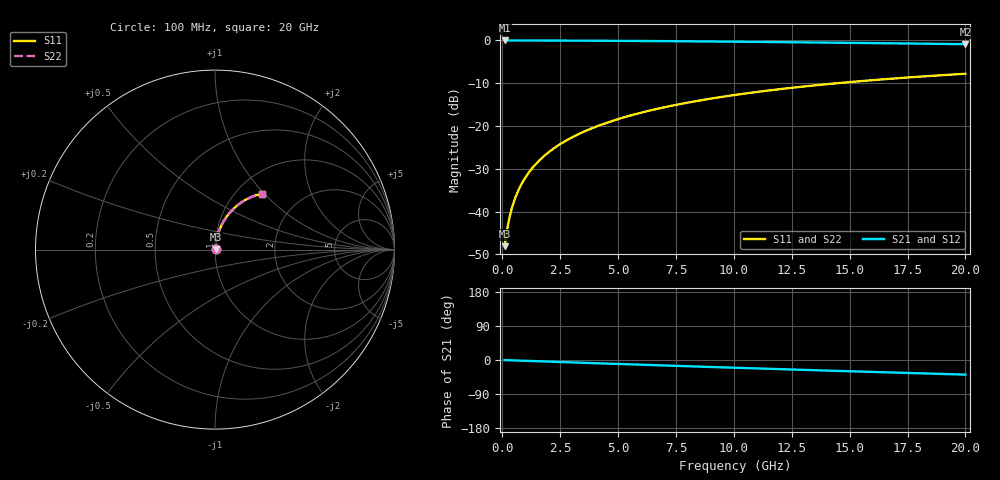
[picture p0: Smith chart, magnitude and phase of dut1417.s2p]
! Touchstone file exported from HFSS 2026.1.0
!  File:  C:/ffzhzh/LocalFiles/Ansys_Project_Files/temp_train_BSMRDL_1417_1783180139_18472.aedt
!  Generated:  11:50:11 PM Jul  4, 2026
!  Design:  BSMRDL
!  Project:  temp_train_BSMRDL_1417_1783180139_18472
! Variables:
!  h_bsmrdl = 4.58um
!  h_ox = 20um
!  h_rdl = 5um
!  h_sub = 80um
!  h_tmrdl = 5um
!  h_tsv = 80um
!  h_via = 3um
!  l_bsmrdl = 526.17um
!  l_sub = 926.17um
!  l_tmrdl = 200um
!  m_sub = 200um
!  pitch = 44.77um
!  r_tsv = 6um
!  s_tmrdl = 10um
!  w_bsmrdl = 14.09um
!  w_sub = 500um
!  w_tmrdl = 12um
!  x_tsv_center1 = 206um
!  x_tsv_center2 = 746.26um
!  x_tsv_center3 = 958.26um
!  x_tsv_center4 = 1498.52um
!  x_tsv_center5 = 1710.52um
!  x_tsv_center6 = 2250.78um
# GHz S MA R 50.000000
! Terminal data exported
! Port[1] = BSM_RDL1_1_T1
! Port[2] = BSM_RDL1_1_T2
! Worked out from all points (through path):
!   200 points, 100 MHz to 20 GHz, reference 50 ohm
!   highest |S21| = -0.03 dB at 100 MHz (marker M1); lowest = -0.9 dB at 20 GHz (marker M2)
!   group delay of S21, straight-line fit = 5.35 ps
!   lowest |S11| = -48.1 dB at 100 MHz (marker M3), VSWR 1.01, Z = 50.3 + j0.259 ohm
!   |S11| at or under -10 dB: start of sweep to 14.49 GHz
!   |S22| runs from -48.1 to -7.8 dB; largest |S21 - S12| = 3.3e-15
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0.1  0.003941 40.8  0.997 -0.2  0.997 -0.2  0.003941 40.8
! Gamma 0 0 0 0
! Port Impedance 50 0 50 0
0.2  0.005978 59.0  0.9969 -0.4  0.9969 -0.4  0.005978 59.0
0.3  0.00828 67.1  0.9968 -0.7  0.9968 -0.7  0.00828 67.1
0.4  0.01065 71.5  0.9967 -0.9  0.9967 -0.9  0.01065 71.5
0.5  0.01304 74.2  0.9966 -1.1  0.9966 -1.1  0.01304 74.2
0.6  0.01543 76.1  0.9965 -1.3  0.9965 -1.3  0.01544 76.1
0.8  0.02025 78.4  0.9964 -1.7  0.9964 -1.7  0.02025 78.4
1.1  0.02749 80.1  0.9961 -2.3  0.9961 -2.3  0.02749 80.1
1.5  0.03718 81.0  0.9956 -3.2  0.9956 -3.2  0.03718 81.0
1.8  0.04445 81.1  0.9952 -3.8  0.9952 -3.8  0.04445 81.1
2.1  0.0517 81.0  0.9947 -4.4  0.9947 -4.4  0.0517 81.0
2.7  0.06614 80.5  0.9935 -5.7  0.9935 -5.7  0.06614 80.5
3.5  0.08521 79.3  0.9915 -7.4  0.9915 -7.4  0.08521 79.3
4.2  0.1017 78.2  0.9895 -8.8  0.9895 -8.8  0.1017 78.2
5  0.1202 76.7  0.9869 -10.4  0.9869 -10.4  0.1202 76.7
5.9  0.1408 75.1  0.9835 -12.3  0.9835 -12.3  0.1408 75.1
6.8  0.1609 73.4  0.9799 -14.1  0.9799 -14.1  0.1609 73.4
8.3  0.1936 70.6  0.9732 -17.1  0.9732 -17.1  0.1936 70.6
10.1  0.2313 67.3  0.9641 -20.6  0.9641 -20.6  0.2313 67.3
13.4  0.2962 61.3  0.9452 -26.8  0.9452 -26.8  0.2962 61.3
16.7  0.3549 55.5  0.9242 -32.8  0.9242 -32.8  0.3549 55.5
20  0.4072 49.9  0.9022 -38.5  0.9022 -38.5  0.4072 49.9
